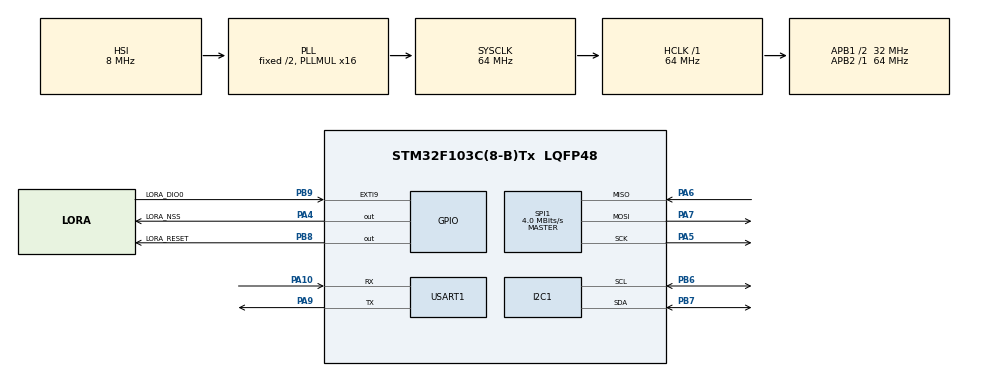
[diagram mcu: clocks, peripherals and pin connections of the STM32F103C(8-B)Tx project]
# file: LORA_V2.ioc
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Mcu.Family=STM32F1
Mcu.Name=STM32F103C(8-B)Tx
Mcu.Package=LQFP48
NVIC.EXTI9_5_IRQn=true\:1\:0\:true\:false\:true\:true\:true\:true
NVIC.PriorityGroup=NVIC_PRIORITYGROUP_4
PA10.Mode=Asynchronous
PA10.Signal=USART1_RX
PA13.Mode=Serial_Wire
PA13.Signal=SYS_JTMS-SWDIO
PA14.Mode=Serial_Wire
PA14.Signal=SYS_JTCK-SWCLK
PA4.GPIO_Label=LORA_NSS
PA4.GPIO_PuPd=GPIO_PULLUP
PA4.GPIO_Speed=GPIO_SPEED_FREQ_HIGH
PA4.PinState=GPIO_PIN_SET
PA4.Signal=GPIO_Output
PA5.Mode=Full_Duplex_Master
PA5.Signal=SPI1_SCK
PA6.Mode=Full_Duplex_Master
PA6.Signal=SPI1_MISO
PA7.Mode=Full_Duplex_Master
PA7.Signal=SPI1_MOSI
PA9.Mode=Asynchronous
PA9.Signal=USART1_TX
PB6.Mode=I2C
PB6.Signal=I2C1_SCL
PB7.Mode=I2C
PB7.Signal=I2C1_SDA
PB8.GPIO_Label=LORA_RESET
PB8.GPIO_ModeDefaultOutputPP=GPIO_MODE_OUTPUT_PP
PB8.GPIO_PuPd=GPIO_PULLUP
PB8.GPIO_Speed=GPIO_SPEED_FREQ_HIGH
PB8.PinState=GPIO_PIN_SET
PB8.Signal=GPIO_Output
PB9.GPIO_Label=LORA_DIO0
PB9.GPIO_ModeDefaultEXTI=GPIO_MODE_IT_RISING
PB9.GPIO_PuPd=GPIO_NOPULL
PB9.Signal=GPXTI9
ProjectManager.HeapSize=0x200
ProjectManager.StackSize=0x400
ProjectManager.TargetToolchain=STM32CubeIDE
RCC.AHBFreq_Value=64000000
RCC.APB1CLKDivider=RCC_HCLK_DIV2
RCC.APB1Freq_Value=32000000
RCC.APB1TimFreq_Value=64000000
RCC.APB2Freq_Value=64000000
RCC.APB2TimFreq_Value=64000000
RCC.HCLKFreq_Value=64000000
RCC.PLLMUL=RCC_PLL_MUL16
RCC.SYSCLKFreq_VALUE=64000000
RCC.SYSCLKSource=RCC_SYSCLKSOURCE_PLLCLK
RCC.USBFreq_Value=64000000
SPI1.BaudRatePrescaler=SPI_BAUDRATEPRESCALER_16
SPI1.CalculateBaudRate=4.0 MBits/s
SPI1.Direction=SPI_DIRECTION_2LINES
SPI1.Mode=SPI_MODE_MASTER
SPI1.VirtualType=VM_MASTER
USART1.VirtualMode=VM_ASYNC
board=custom

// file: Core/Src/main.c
/* USER CODE BEGIN Header */
/**
  ******************************************************************************
  * @file           : main.c
  * @brief          : Main program body
  ******************************************************************************
  * @attention
  *
  * Copyright (c) 2026 STMicroelectronics.
  * All rights reserved.
  *
  * This software is licensed under terms that can be found in the LICENSE file
  * in the root directory of this software component.
  * If no LICENSE file comes with this software, it is provided AS-IS.
  *
  ******************************************************************************
  */
/* USER CODE END Header */
#include "main.h"

/* USER CODE BEGIN Includes */
#include "LoRa.h"
#include "AHT30.h"
#include <stdlib.h>

/* USER CODE END Includes */

/* USER CODE BEGIN PD */
#define MAX_PAYLOAD_SIZE 256 - 7

#define SOF_BYTE 0xAA
#define EOF_BYTE 0x55

#define FRAME_TYPE_DATA 0x01
#define FRAME_TYPE_WARNING 0x02

#define FRAME_TYPE_BEACON 0X03
#define FRAME_TYPE_SET_THRESHOLD 0X04
#define FRAME_TYPE_ACK 0X05
#define FRAME_TYPE_JOIN_REQUEST 0X06
#define FRAME_TYPE_JOIN_RESPONSE 0X07

#define FRAME_TYPE_DATA_LENGTH 0x0A
#define FRAME_TYPE_WARNING_LENGTH 0x0A
#define FRAME_TYPE_BEACON_LENGTH 0x08

#define FRAME_TYPE_JOIN_REQUEST_LENGTH 0x08

typedef enum {
    data_frame,
    join_request_frame,
    join_response_frame,
    set_threshold_frame,
    beacon_frame
} frame_type_t;

typedef enum {
    PAYLOAD_CREATE,
    PAYLOAD_TRANSMIT,
} transmit_state_t;

typedef enum{
    IDLE =0,
    SEARCHING_FOR_SOF,
    RECEIVING_DEV_ID,
    RECEIVING_FRAME_TYPE,
    RECEIVING_LENGTH,
    RECEIVING_PAYLOAD_DATA,
    RECEIVING_CHECKSUM,
    RECEIVING_EOF,
} receive_state_t;

typedef struct {
    uint16_t temperature_raw;
    uint16_t moisture_raw;
    uint8_t humidity_raw;
} sensor_data_raw_t;

typedef struct {
    uint8_t type;
    uint8_t dev_id;
    uint8_t length;
    uint8_t crc;
    receive_state_t rx_state;
    transmit_state_t tx_state;
    uint8_t FiFoAddPtr;
    uint8_t number_of_bytes;
    union
    {
        struct {
            uint8_t temp_int;
            uint8_t temp_frac;
            uint8_t humi;
            uint8_t mois;
        } data;

        struct
        {
            uint8_t tick_1;
            uint8_t tick_2;
            uint8_t tick_3;
            uint8_t tick_4;
        }data_beacon;

        struct
        {
            uint8_t pos_x;
            uint8_t pos_y;
        } data_join_request;

    }payload;

} frame_data_t;
/* USER CODE END PD */

I2C_HandleTypeDef hi2c1;

SPI_HandleTypeDef hspi1;

UART_HandleTypeDef huart1;

/* USER CODE BEGIN PV */
LoRa myLoRa;
uint8_t buf_tx[50];
uint8_t buf_rx[50];
LoRa_stt stt=LoRa_FAIL;
uint16_t LoRa_init_stt=404;

uint32_t tick;
uint8_t mode_r1;
uint8_t mode;
uint8_t SF;
uint8_t mapping;
uint8_t regiqr;
int current_mode;
volatile uint8_t recieve_flag =0;
/* USER CODE END PV */

void SystemClock_Config(void);
static void MX_GPIO_Init(void);
static void MX_SPI1_Init(void);
static void MX_USART1_UART_Init(void);
static void MX_I2C1_Init(void);
/* USER CODE BEGIN PFP */

void clear_frame(frame_data_t *frame) {
    frame->type = 0;
    frame->dev_id = 0;
    frame->length = 0;
    frame->crc = 0;
    frame->rx_state = IDLE;
    frame->FiFoAddPtr = 0;
    frame->number_of_bytes = 0;
    // Clear payload data
    frame->payload.data.temp_int = 0;
    frame->payload.data.temp_frac = 0;
    frame->payload.data.humi = 0;
    frame->payload.data.mois = 0;
    frame->payload.data_beacon.tick_1 = 0;
    frame->payload.data_beacon.tick_2 = 0;
    frame->payload.data_beacon.tick_3 = 0;
    frame->payload.data_beacon.tick_4 = 0;
    frame->payload.data_join_request.pos_x = 0;
    frame->payload.data_join_request.pos_y = 0;
}

void create_frame(frame_data_t *frame,frame_type_t frame_type,uint8_t *data) {
    switch (frame_type)
    {
    case data_frame:
        frame->type = FRAME_TYPE_DATA;
        frame->dev_id = data[0]; // Example device ID
        frame->length = FRAME_TYPE_DATA_LENGTH;
        frame->payload.data.temp_int = data[1]; // Example temperature
        frame->payload.data.temp_frac = data[2]; // Example temperature fraction
        frame->payload.data.humi = data[3]; // Example humidity
        frame->payload.data.mois = data[4]; // Example moisture
        break;
    case join_request_frame:
        frame->type = FRAME_TYPE_JOIN_REQUEST;
        frame->dev_id = data[0]; // Example device ID
        frame->length = FRAME_TYPE_JOIN_REQUEST_LENGTH;
        frame->payload.data_join_request.pos_x = data[1];
        frame->payload.data_join_request.pos_y = data[2];
        break;
    default:
        break;
    }

}

uint8_t calculate_crc(uint8_t *payload_data, uint8_t length) {
    uint8_t crc = 0;
    for (uint8_t i = 0; i < length; i++) {
        crc ^= payload_data[i]; // Simple XOR-based CRC
    }
    return crc;
}

int create_payload(frame_data_t *frame,uint8_t *payload_tx,uint8_t frame_type) {
    if (frame->length > MAX_PAYLOAD_SIZE) {
        return -1; // Payload size exceeds maximum limit
    }
    switch (frame->type) {
        case FRAME_TYPE_DATA:
        payload_tx[0] = (uint8_t)SOF_BYTE;
        payload_tx[1] = frame->dev_id;
        payload_tx[2] = frame->type;
        payload_tx[3] = frame->length; // Length
        payload_tx[4] = frame->payload.data.temp_int; // Temperature high byte
        payload_tx[5] = frame->payload.data.temp_frac; // Temperature low byte
        payload_tx[6] = frame->payload.data.humi; // Humidity
        payload_tx[7] = frame->payload.data.mois; // Moisture
        payload_tx[8] = calculate_crc(payload_tx,FRAME_TYPE_DATA_LENGTH-2); // CRC8 of the payload
        payload_tx[9] = (uint8_t)EOF_BYTE;
        return 0;
            break;
        case FRAME_TYPE_JOIN_REQUEST:
        payload_tx[0] = (uint8_t)SOF_BYTE;
        payload_tx[1] = frame->dev_id;
        payload_tx[2] = frame->type;
        payload_tx[3] = frame->length; // Length
        payload_tx[4] = frame->payload.data_join_request.pos_x;
        payload_tx[5] = frame->payload.data_join_request.pos_y;
        payload_tx[6] = calculate_crc(payload_tx,FRAME_TYPE_JOIN_REQUEST_LENGTH-2); // CRC8 of the payload
        payload_tx[7] = (uint8_t)EOF_BYTE;
        return 0;
        default:
            return -1; // Invalid frame type

    }
}

int LoRa_rx_payload(LoRa* _LoRa,frame_data_t *frame_data_rx){
    uint8_t crc=0;
    uint8_t read;
    clear_frame(frame_data_rx);
    LoRa_gotoMode(_LoRa, STNBY_MODE);
    read = LoRa_read(_LoRa, RegIrqFlags);
    if((read & 0x40) != 0){
    	LoRa_write(_LoRa, RegIrqFlags, 0xFF);
        frame_data_rx->rx_state = SEARCHING_FOR_SOF;
//#ifdef PAYLOAD_CRC_ON
// LoRa auto CRC check
//    if()
//    frame_data_rx->rx_state = WAIT_LORA_RX_DONE;
//    return -1; // CRC error
//#endif

    switch(frame_data_rx->rx_state){
    	case IDLE:
    		LoRa_gotoMode(_LoRa, RXCONTIN_MODE);
    		return 1;
        case SEARCHING_FOR_SOF:

            frame_data_rx->FiFoAddPtr = LoRa_read(_LoRa, RegFiFoRxCurrentAddr);
            frame_data_rx->number_of_bytes = LoRa_read(_LoRa, RegRxNbBytes);
            LoRa_write(_LoRa, RegFiFoAddPtr, frame_data_rx->FiFoAddPtr);
            uint8_t read= LoRa_read(_LoRa, RegFiFo);

            if(read!=SOF_BYTE)
                {
                LoRa_gotoMode(_LoRa, RXCONTIN_MODE);
                frame_data_rx->rx_state = IDLE;
                return -1; // Not a valid SOF byte
                }
            crc ^=read;
            frame_data_rx->rx_state = RECEIVING_DEV_ID;

        case RECEIVING_DEV_ID:
            read= LoRa_read(_LoRa, RegFiFo);
    /*
        check ID if valid, if not valid, reset state to IDLE
        frame_data_rx->rx_state = IDLE;
    */
            frame_data_rx->dev_id = read;
            frame_data_rx->rx_state = RECEIVING_FRAME_TYPE;
            crc ^= read;

        case RECEIVING_FRAME_TYPE:
            read= LoRa_read(_LoRa, RegFiFo);

            switch (read){
                case FRAME_TYPE_DATA:
                    frame_data_rx->type = read;
                    frame_data_rx->rx_state = RECEIVING_LENGTH;
                    crc ^= read;
                    break;
                case FRAME_TYPE_BEACON:
                    frame_data_rx->type = read;
                    frame_data_rx->rx_state = RECEIVING_LENGTH;
                    crc ^= read;
                    break;
                default:
                    LoRa_gotoMode(_LoRa, RXCONTIN_MODE);
                    frame_data_rx->rx_state = IDLE; // Invalid frame type, reset state

                    return -1;
    }

        case RECEIVING_LENGTH:
            read= LoRa_read(_LoRa, RegFiFo);
            if(frame_data_rx->type==FRAME_TYPE_DATA){
            	frame_data_rx->length=FRAME_TYPE_DATA_LENGTH;
            }
            else if(frame_data_rx->type==FRAME_TYPE_BEACON){
            	frame_data_rx->length=FRAME_TYPE_BEACON_LENGTH;
            };

            if (read > MAX_PAYLOAD_SIZE||read != frame_data_rx->length)
            {
            LoRa_gotoMode(_LoRa, RXCONTIN_MODE);
            frame_data_rx->rx_state = IDLE; // Invalid length, reset state
            return -1;
            }
            frame_data_rx->length = read;
            frame_data_rx->rx_state = RECEIVING_PAYLOAD_DATA;
            crc ^= read;

        case RECEIVING_PAYLOAD_DATA:

            switch (frame_data_rx->type){
                case FRAME_TYPE_DATA:
                    frame_data_rx->payload.data.temp_int = LoRa_read(_LoRa, RegFiFo);
                     crc ^= frame_data_rx->payload.data.temp_int;
                    frame_data_rx->payload.data.temp_frac = LoRa_read(_LoRa, RegFiFo);
                    crc ^= frame_data_rx->payload.data.temp_frac;
                    frame_data_rx->payload.data.humi = LoRa_read(_LoRa, RegFiFo);
                    crc ^= frame_data_rx->payload.data.humi;
                    frame_data_rx->payload.data.mois = LoRa_read(_LoRa, RegFiFo);
                    crc ^= frame_data_rx->payload.data.mois;
                break;

                case FRAME_TYPE_BEACON:
                    frame_data_rx->payload.data_beacon.tick_1 = LoRa_read(_LoRa, RegFiFo);
                    crc ^= frame_data_rx->payload.data_beacon.tick_1;
                    frame_data_rx->payload.data_beacon.tick_2 = LoRa_read(_LoRa, RegFiFo);
                    crc ^= frame_data_rx->payload.data_beacon.tick_2;
                    frame_data_rx->payload.data_beacon.tick_3 = LoRa_read(_LoRa, RegFiFo);
                    crc ^= frame_data_rx->payload.data_beacon.tick_3;
                    frame_data_rx->payload.data_beacon.tick_4 = LoRa_read(_LoRa, RegFiFo);
                    crc ^= frame_data_rx->payload.data_beacon.tick_4;
                break;
                }
            frame_data_rx->rx_state = RECEIVING_CHECKSUM;

        case RECEIVING_CHECKSUM:
            read= LoRa_read(_LoRa, RegFiFo);
            if (read != crc)
            {
            LoRa_gotoMode(_LoRa, RXCONTIN_MODE);
            frame_data_rx->rx_state = IDLE; // CRC mismatch, reset state
            return -1;
            }
            frame_data_rx->crc= read;
            frame_data_rx->rx_state = RECEIVING_EOF;
        case RECEIVING_EOF:
            read= LoRa_read(_LoRa, RegFiFo);
            if (read != EOF_BYTE)
            {
                LoRa_gotoMode(_LoRa, RXCONTIN_MODE);
                frame_data_rx->rx_state = IDLE; // Invalid EOF byte, reset state
                return -1;
            }

        }
    }
    LoRa_gotoMode(_LoRa, RXCONTIN_MODE);
    return 0; // Valid beacon received
}

/* USER CODE END PFP */

/* USER CODE BEGIN 0 */
frame_data_t frame;
frame_type_t frame_type=data_frame;
uint8_t data[5]={12,5,50,45,33};
uint8_t payload[12]={0};
/* USER CODE END 0 */

int main(void)
{
  /* USER CODE BEGIN 1 */
clear_frame(&frame);

//create_frame(&frame, frame_type, data);
//
//create_payload(&frame, payload, frame_type);
  /* USER CODE END 1 */

  /* MCU Configuration--------------------------------------------------------*/

  /* Reset of all peripherals, Initializes the Flash interface and the Systick. */
  HAL_Init();

  /* Configure the system clock */
  SystemClock_Config();

  /* Initialize all configured peripherals */
  MX_GPIO_Init();
  MX_SPI1_Init();
  MX_USART1_UART_Init();
  MX_I2C1_Init();
  /* USER CODE BEGIN 2 */
	// MODULE SETTINGS ----------------------------------------------
	myLoRa = newLoRa();

	myLoRa.hSPIx                 = &hspi1;
	myLoRa.CS_port               = LORA_NSS_GPIO_Port;
	myLoRa.CS_pin                = LORA_NSS_Pin;
	myLoRa.reset_port            = LORA_RESET_GPIO_Port;
	myLoRa.reset_pin             = LORA_RESET_Pin;
	myLoRa.DIO0_port						 = LORA_DIO0_GPIO_Port;
	myLoRa.DIO0_pin							 = LORA_DIO0_Pin;

	myLoRa.frequency             = 433;							  // default = 433 MHz
	myLoRa.spredingFactor        = SF_7;							// default = SF_7
	myLoRa.bandWidth			       = BW_125KHz;				  // default = BW_125KHz
	myLoRa.crcRate				       = CR_4_5;						// default = CR_4_5
	myLoRa.power					       = POWER_14db;				// default = 20db
	myLoRa.overCurrentProtection = 120; 							// default = 100 mA
	myLoRa.preamble				       = 10;		  					// default = 8;

	LoRa_reset(&myLoRa);
	LoRa_init_stt=LoRa_init(&myLoRa);

	// START CONTINUOUS RECEIVING -----------------------------------
	LoRa_startReceiving(&myLoRa);
	//---------------------------------------------------------------

  /* USER CODE END 2 */

  /* Infinite loop */
  /* USER CODE BEGIN WHILE */
  while (1)
  {
//		buf_tx[0] = 0x10; // MY ADDRESS
//		for(int i=0; i<26; i++)
//			buf_tx[i+1] = 48+i;
//		if(LoRa_init_stt==200){
//		stt=LoRa_transmit(&myLoRa,payload,frame.length, 1000,&regiqr,&mode,&mode_r1); // timeout ~ SF
//		SF=(LoRa_read(&myLoRa, RegModemConfig2))>>4;
//		}
//		HAL_Delay(2000);
//		mode=0;
//		mode_r1=0;
//		regiqr=0;

	  if(recieve_flag){
		  LoRa_rx_payload(&myLoRa, &frame);
		  recieve_flag=0;
	  }
    /* USER CODE END WHILE */

  }
}

void SystemClock_Config(void)
{
  RCC_OscInitTypeDef RCC_OscInitStruct = {0};
  RCC_ClkInitTypeDef RCC_ClkInitStruct = {0};

  /** Initializes the RCC Oscillators according to the specified parameters
  * in the RCC_OscInitTypeDef structure.
  */
  RCC_OscInitStruct.OscillatorType = RCC_OSCILLATORTYPE_HSI;
  RCC_OscInitStruct.HSIState = RCC_HSI_ON;
  RCC_OscInitStruct.HSICalibrationValue = RCC_HSICALIBRATION_DEFAULT;
  RCC_OscInitStruct.PLL.PLLState = RCC_PLL_ON;
  RCC_OscInitStruct.PLL.PLLSource = RCC_PLLSOURCE_HSI_DIV2;
  RCC_OscInitStruct.PLL.PLLMUL = RCC_PLL_MUL16;
  if (HAL_RCC_OscConfig(&RCC_OscInitStruct) != HAL_OK)
  {
    Error_Handler();
  }

  /** Initializes the CPU, AHB and APB buses clocks
  */
  RCC_ClkInitStruct.ClockType = RCC_CLOCKTYPE_HCLK|RCC_CLOCKTYPE_SYSCLK
                              |RCC_CLOCKTYPE_PCLK1|RCC_CLOCKTYPE_PCLK2;
  RCC_ClkInitStruct.SYSCLKSource = RCC_SYSCLKSOURCE_PLLCLK;
  RCC_ClkInitStruct.AHBCLKDivider = RCC_SYSCLK_DIV1;
  RCC_ClkInitStruct.APB1CLKDivider = RCC_HCLK_DIV2;
  RCC_ClkInitStruct.APB2CLKDivider = RCC_HCLK_DIV1;

  if (HAL_RCC_ClockConfig(&RCC_ClkInitStruct, FLASH_LATENCY_2) != HAL_OK)
  {
    Error_Handler();
  }
}

static void MX_I2C1_Init(void)
{

  hi2c1.Instance = I2C1;
  hi2c1.Init.ClockSpeed = 100000;
  hi2c1.Init.DutyCycle = I2C_DUTYCYCLE_2;
  hi2c1.Init.OwnAddress1 = 0;
  hi2c1.Init.AddressingMode = I2C_ADDRESSINGMODE_7BIT;
  hi2c1.Init.DualAddressMode = I2C_DUALADDRESS_DISABLE;
  hi2c1.Init.OwnAddress2 = 0;
  hi2c1.Init.GeneralCallMode = I2C_GENERALCALL_DISABLE;
  hi2c1.Init.NoStretchMode = I2C_NOSTRETCH_DISABLE;
  if (HAL_I2C_Init(&hi2c1) != HAL_OK)
  {
    Error_Handler();
  }

}

static void MX_SPI1_Init(void)
{

  /* SPI1 parameter configuration*/
  hspi1.Instance = SPI1;
  hspi1.Init.Mode = SPI_MODE_MASTER;
  hspi1.Init.Direction = SPI_DIRECTION_2LINES;
  hspi1.Init.DataSize = SPI_DATASIZE_8BIT;
  hspi1.Init.CLKPolarity = SPI_POLARITY_LOW;
  hspi1.Init.CLKPhase = SPI_PHASE_1EDGE;
  hspi1.Init.NSS = SPI_NSS_SOFT;
  hspi1.Init.BaudRatePrescaler = SPI_BAUDRATEPRESCALER_16;
  hspi1.Init.FirstBit = SPI_FIRSTBIT_MSB;
  hspi1.Init.TIMode = SPI_TIMODE_DISABLE;
  hspi1.Init.CRCCalculation = SPI_CRCCALCULATION_DISABLE;
  hspi1.Init.CRCPolynomial = 10;
  if (HAL_SPI_Init(&hspi1) != HAL_OK)
  {
    Error_Handler();
  }

}

static void MX_USART1_UART_Init(void)
{

  huart1.Instance = USART1;
  huart1.Init.BaudRate = 115200;
  huart1.Init.WordLength = UART_WORDLENGTH_8B;
  huart1.Init.StopBits = UART_STOPBITS_1;
  huart1.Init.Parity = UART_PARITY_NONE;
  huart1.Init.Mode = UART_MODE_TX_RX;
  huart1.Init.HwFlowCtl = UART_HWCONTROL_NONE;
  huart1.Init.OverSampling = UART_OVERSAMPLING_16;
  if (HAL_UART_Init(&huart1) != HAL_OK)
  {
    Error_Handler();
  }

}

static void MX_GPIO_Init(void)
{
  GPIO_InitTypeDef GPIO_InitStruct = {0};

  /* GPIO Ports Clock Enable */
  __HAL_RCC_GPIOA_CLK_ENABLE();
  __HAL_RCC_GPIOB_CLK_ENABLE();

  /*Configure GPIO pin Output Level */
  HAL_GPIO_WritePin(LORA_NSS_GPIO_Port, LORA_NSS_Pin, GPIO_PIN_SET);

  /*Configure GPIO pin Output Level */
  HAL_GPIO_WritePin(LORA_RESET_GPIO_Port, LORA_RESET_Pin, GPIO_PIN_SET);

  /*Configure GPIO pin : LORA_NSS_Pin */
  GPIO_InitStruct.Pin = LORA_NSS_Pin;
  GPIO_InitStruct.Mode = GPIO_MODE_OUTPUT_PP;
  GPIO_InitStruct.Pull = GPIO_PULLUP;
  GPIO_InitStruct.Speed = GPIO_SPEED_FREQ_HIGH;
  HAL_GPIO_Init(LORA_NSS_GPIO_Port, &GPIO_InitStruct);

  /*Configure GPIO pin : LORA_RESET_Pin */
  GPIO_InitStruct.Pin = LORA_RESET_Pin;
  GPIO_InitStruct.Mode = GPIO_MODE_OUTPUT_PP;
  GPIO_InitStruct.Pull = GPIO_PULLUP;
  GPIO_InitStruct.Speed = GPIO_SPEED_FREQ_HIGH;
  HAL_GPIO_Init(LORA_RESET_GPIO_Port, &GPIO_InitStruct);

  /*Configure GPIO pin : LORA_DIO0_Pin */
  GPIO_InitStruct.Pin = LORA_DIO0_Pin;
  GPIO_InitStruct.Mode = GPIO_MODE_IT_RISING;
  GPIO_InitStruct.Pull = GPIO_NOPULL;
  HAL_GPIO_Init(LORA_DIO0_GPIO_Port, &GPIO_InitStruct);

  /* EXTI interrupt init*/
  HAL_NVIC_SetPriority(EXTI9_5_IRQn, 1, 0);
  HAL_NVIC_EnableIRQ(EXTI9_5_IRQn);

}

/* USER CODE BEGIN 4 */
void HAL_GPIO_EXTI_Callback(uint16_t GPIO_Pin){
	if(GPIO_Pin == myLoRa.DIO0_pin){
		recieve_flag=1;
	}
}
/* USER CODE END 4 */

void Error_Handler(void)
{
  __disable_irq();
  while (1)
  {
  }
}
